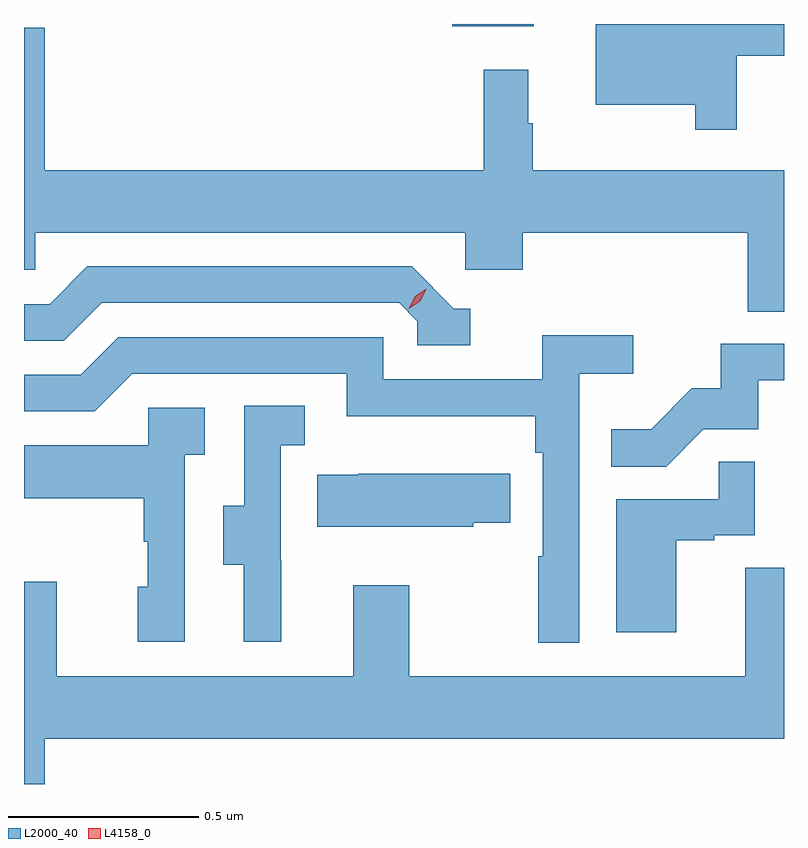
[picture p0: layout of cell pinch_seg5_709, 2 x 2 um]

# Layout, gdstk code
import gdstk
lib = gdstk.Library(unit=1e-6, precision=1e-09)
def R(c, l, rs):  # rectangles x0, y0, x1, y1
    for r in rs: c.add(gdstk.rectangle(r[:2], r[2:], *l))
def P(c, l, *ps):  # polygons
    for p in ps: c.add(gdstk.Polygon(p, *l))
L2000_40 = (2000, 40)
L4158_0 = (4158, 0)

pinch_seg5_709 = lib.new_cell('pinch_seg5_709')
R(pinch_seg5_709, L2000_40, [(1125.284,837.323,1125.499,837.329)])
P(pinch_seg5_709, L2000_40, [(1126.032,837.246),(1126.157,837.246),(1126.157,837.329),(1125.662,837.329),(1125.662,837.116),(1125.924,837.116),(1125.924,837.051),(1126.032,837.051)],
  [(1126.157,836.944),(1125.496,836.944),(1125.496,837.068),(1125.484,837.068),(1125.484,837.208),(1125.367,837.208),(1125.367,836.944),(1124.212,836.944),(1124.212,837.319),(1124.157,837.319),(1124.157,836.682),(1124.187,836.682),(1124.187,836.78),(1125.318,836.78),(1125.318,836.682),(1125.47,836.682),(1125.47,836.78),(1126.061,836.78),(1126.061,836.572),(1126.157,836.572)],
  [(1125.331,836.58),(1125.288,836.58),(1125.177,836.691),(1124.324,836.691),(1124.225,836.592),(1124.157,836.592),(1124.157,836.496),(1124.262,836.496),(1124.361,836.595),(1125.144,836.595),(1125.192,836.547),(1125.192,836.484),(1125.331,836.484)],
  [(1125.618,836.408),(1125.76,836.408),(1125.76,836.51),(1125.521,836.51),(1125.521,836.394),(1125.102,836.394),(1125.102,836.505),(1124.405,836.505),(1124.306,836.406),(1124.157,836.406),(1124.157,836.31),(1124.343,836.31),(1124.442,836.409),(1125.006,836.409),(1125.006,836.297),(1125.502,836.297),(1125.502,836.201),(1125.522,836.201),(1125.522,835.928),(1125.51,835.928),(1125.51,835.701),(1125.618,835.701)],
  [(1125.945,836.262),(1126.089,836.262),(1126.089,836.391),(1126.157,836.391),(1126.157,836.487),(1125.991,836.487),(1125.991,836.37),(1125.914,836.37),(1125.807,836.263),(1125.703,836.263),(1125.703,836.164),(1125.847,836.164)],
  [(1124.834,835.917),(1124.832,835.917),(1124.832,836.221),(1124.896,836.221),(1124.896,836.324),(1124.736,836.324),(1124.736,836.061),(1124.681,836.061),(1124.681,835.906),(1124.735,835.906),(1124.735,835.704),(1124.834,835.704)],
  [(1124.58,836.195),(1124.632,836.195),(1124.632,836.319),(1124.484,836.319),(1124.484,836.221),(1124.157,836.221),(1124.157,836.081),(1124.472,836.081),(1124.472,835.967),(1124.482,835.967),(1124.482,835.848),(1124.456,835.848),(1124.456,835.704),(1124.58,835.704)],
  [(1125.874,835.971),(1125.974,835.971),(1125.974,835.983),(1126.08,835.983),(1126.08,836.177),(1125.985,836.177),(1125.985,836.079),(1125.716,836.079),(1125.716,835.728),(1125.874,835.728)],
  [(1125.339,836.017),(1125.437,836.017),(1125.437,836.146),(1125.037,836.146),(1125.037,836.143),(1124.929,836.143),(1124.929,836.006),(1125.339,836.006)],
  [(1124.212,835.448),(1126.157,835.448),(1126.157,835.898),(1126.055,835.898),(1126.055,835.612),(1125.171,835.612),(1125.171,835.852),(1125.023,835.852),(1125.023,835.612),(1124.243,835.612),(1124.243,835.861),(1124.157,835.861),(1124.157,835.329),(1124.212,835.329)])
P(pinch_seg5_709, L4158_0, [(1125.169,836.58),(1125.169,836.58),(1125.186,836.612),(1125.216,836.632),(1125.216,836.632),(1125.216,836.631),(1125.2,836.599),(1125.17,836.58)])

lib.write_gds('pinch_seg5_709.gds')
